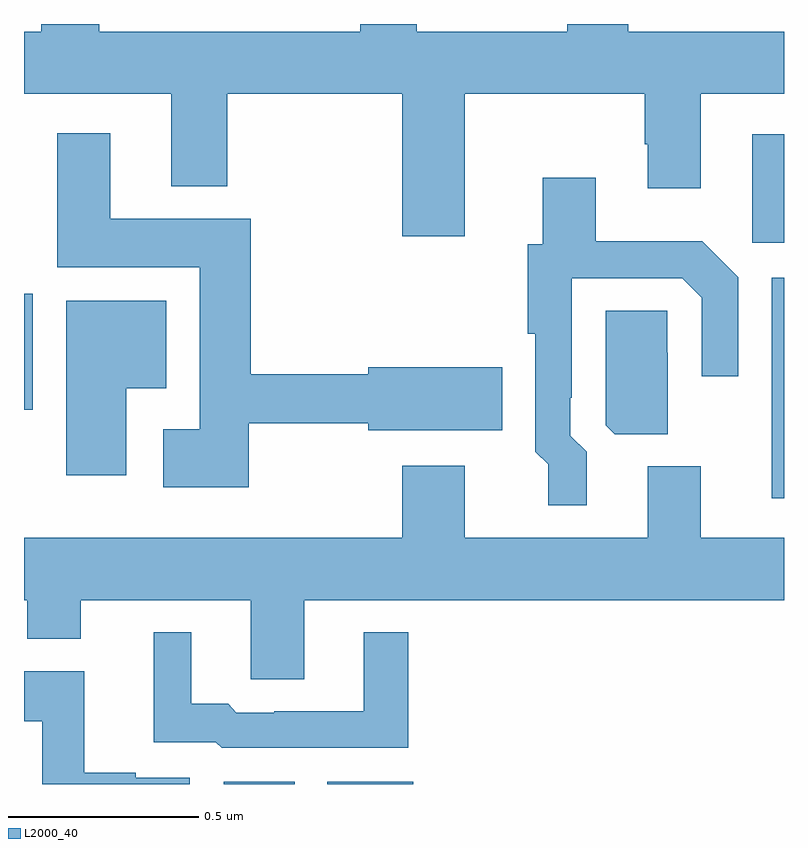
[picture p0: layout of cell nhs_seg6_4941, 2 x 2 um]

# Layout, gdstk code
import gdstk
lib = gdstk.Library(unit=1e-6, precision=1e-09)
def R(c, l, rs):  # rectangles x0, y0, x1, y1
    for r in rs: c.add(gdstk.rectangle(r[:2], r[2:], *l))
def P(c, l, *ps):  # polygons
    for p in ps: c.add(gdstk.Polygon(p, *l))
L2000_40 = (2000, 40)

nhs_seg6_4941 = lib.new_cell('nhs_seg6_4941')
R(nhs_seg6_4941, L2000_40, [(176.525,965.5,176.713,965.506), (176.798,965.5,177.024,965.506), (177.968,966.252,178,966.832), (176,966.485,176.023,966.79), (177.917,966.924,178,967.21)])
P(nhs_seg6_4941, L2000_40, [(177.16,967.316),(177.634,967.316),(177.634,967.183),(177.641,967.183),(177.641,967.068),(177.781,967.068),(177.781,967.316),(178,967.316),(178,967.48),(177.59,967.48),(177.59,967.5),(177.43,967.5),(177.43,967.48),(177.033,967.48),(177.033,967.5),(176.885,967.5),(176.885,967.48),(176.198,967.48),(176.198,967.5),(176.045,967.5),(176.045,967.48),(176,967.48),(176,967.316),(176.387,967.316),(176.387,967.073),(176.535,967.073),(176.535,967.316),(176.996,967.316),(176.996,966.942),(177.16,966.942)],
  [(176.592,966.45),(176.906,966.45),(176.906,966.431),(177.259,966.431),(177.259,966.597),(176.906,966.597),(176.906,966.578),(176.597,966.578),(176.597,966.988),(176.227,966.988),(176.227,967.213),(176.087,967.213),(176.087,966.86),(176.462,966.86),(176.462,966.433),(176.367,966.433),(176.367,966.281),(176.592,966.281)],
  [(177.481,966.374),(177.438,966.417),(177.438,966.517),(177.441,966.517),(177.441,966.831),(177.732,966.831),(177.783,966.78),(177.783,966.573),(177.879,966.573),(177.879,966.834),(177.785,966.928),(177.505,966.928),(177.505,967.096),(177.365,967.096),(177.365,966.921),(177.325,966.921),(177.325,966.685),(177.345,966.685),(177.345,966.374),(177.379,966.341),(177.379,966.234),(177.481,966.234)],
  [(176.269,966.542),(176.374,966.542),(176.374,966.772),(176.111,966.772),(176.111,966.312),(176.269,966.312)],
  [(177.694,966.635),(177.693,966.635),(177.693,966.746),(177.531,966.746),(177.531,966.444),(177.555,966.421),(177.694,966.421)],
  [(176.737,965.984),(178,965.984),(178,966.148),(177.781,966.148),(177.781,966.336),(177.641,966.336),(177.641,966.148),(177.16,966.148),(177.16,966.337),(176.996,966.337),(176.996,966.148),(176,966.148),(176,965.984),(176.009,965.984),(176.009,965.882),(176.149,965.882),(176.149,965.984),(176.597,965.984),(176.597,965.776),(176.737,965.776)],
  [(177.011,965.899),(176.894,965.899),(176.894,965.691),(176.659,965.691),(176.659,965.688),(176.559,965.688),(176.537,965.711),(176.44,965.711),(176.44,965.899),(176.342,965.899),(176.342,965.61),(176.505,965.61),(176.52,965.595),(177.011,965.595)],
  [(176.436,965.517),(176.294,965.517),(176.294,965.53),(176.158,965.53),(176.158,965.797),(176,965.797),(176,965.665),(176.048,965.665),(176.048,965.5),(176.436,965.5)])

lib.write_gds('nhs_seg6_4941.gds')
